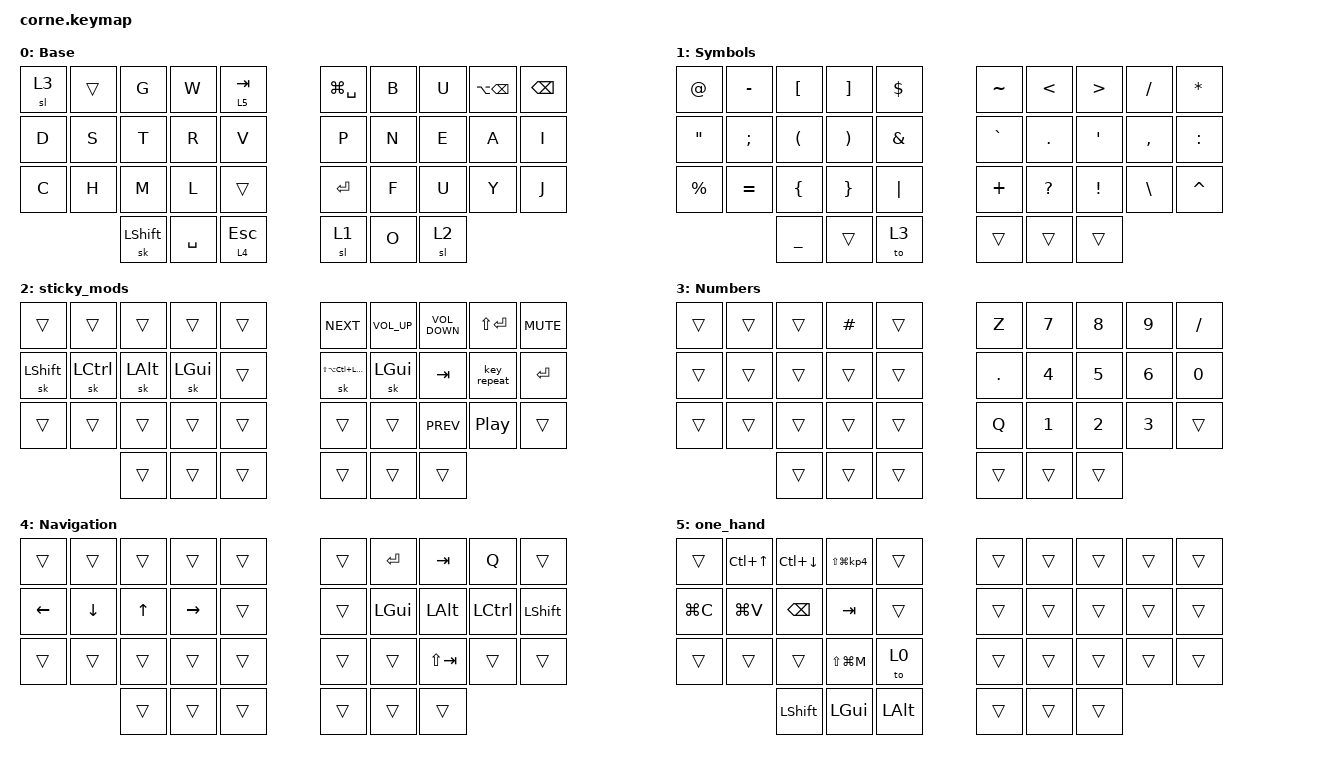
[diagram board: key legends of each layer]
/*
 * Copyright (c) 2020 The ZMK Contributors
 *
 * SPDX-License-Identifier: MIT
 */

#include <behaviors.dtsi>
#include <dt-bindings/zmk/keys.h>

#define DEFAULT_L 0

&lt { quick-tap-ms = <200>; };

&sl {
};

&sk {
    quick-release;
    release-after-ms = <400>;
};

/ {
    chosen { zmk,matrix_transform = &five_column_transform; };

    behaviors {
        tap_repeat_hold_layer: tap_repeat_hold_layer {
            compatible = "zmk,behavior-hold-tap";
            label = "TAP_REPEAT_HOLD_LAYER";
            bindings = <&sl>, <&key_repeat>;

            #binding-cells = <2>;
            tapping-term-ms = <200>;
        };

        tkp_htl: tkp_htl {
            compatible = "zmk,behavior-hold-tap";
            label = "TKP_HTL";
            bindings = <&tog>, <&kp>;

            #binding-cells = <2>;
            tapping-term-ms = <200>;
        };

        bsl: bsl {
            compatible = "zmk,behavior-sticky-key";
            label = "BSL";
            bindings = <&mo>;
            #binding-cells = <1>;
            release-after-ms = <1000>;
            quick-release;
        };
    };

    combos {
        compatible = "zmk,combos";

        equals,num_layer {
            bindings = <&kp KP_EQUAL>;
            key-positions = <16 17>;
            layers = <3>;
        };

        multiply_num_layer {
            bindings = <&kp KP_MULTIPLY>;
            key-positions = <18 19>;
            layers = <3>;
        };

        esc {
            bindings = <&kp LC(PERCENT)>;
            key-positions = <11 10>;
            require-prior-idle-ms = <100>;
            timeout-ms = <20>;
        };
    };

    keymap {
        compatible = "zmk,keymap";

        Base {
            bindings = <
  &sl 3  &trans  &kp G           &kp W      &tkp_htl 5 TAB    &kp LG(SPACE)  &kp B  &kp U  &kp LA(BSPC)  &kp BSPC
  &kp D  &kp S   &kp T           &kp R      &kp V             &kp P          &kp N  &kp E  &kp A         &kp I
  &kp C  &kp H   &kp M           &kp L      &trans            &kp ENTER      &kp F  &kp U  &kp Y         &kp J
                 &sk LEFT_SHIFT  &kp SPACE  &lt 4 ESCAPE      &sl 1          &kp O  &sl 2
            >;
        };

        Symbols {
            bindings = <
  &kp AT_SIGN        &kp MINUS  &kp LEFT_BRACKET      &kp RIGHT_BRACKET      &kp DOLLAR       &kp TILDE  &kp LESS_THAN  &kp GREATER_THAN  &kp FSLH   &kp ASTERISK
  &kp DOUBLE_QUOTES  &kp SEMI   &kp LEFT_PARENTHESIS  &kp RIGHT_PARENTHESIS  &kp AMPERSAND    &kp GRAVE  &kp DOT        &kp SINGLE_QUOTE  &kp COMMA  &kp COLON
  &kp PERCENT        &kp EQUAL  &kp LEFT_BRACE        &kp RIGHT_BRACE        &kp PIPE         &kp PLUS   &kp QUESTION   &kp EXCLAMATION   &kp BSLH   &kp CARET
                                &kp UNDERSCORE        &trans                 &to 3            &trans     &trans         &trans
            >;
        };

        sticky_mods {
            bindings = <
  &trans          &trans     &trans        &trans        &trans    &kp C_NEXT                &kp C_VOLUME_UP  &kp C_VOLUME_DOWN  &kp LS(ENTER)     &kp K_MUTE
  &sk LEFT_SHIFT  &sk LCTRL  &sk LEFT_ALT  &sk LEFT_GUI  &trans    &sk LS(LA(LC(LEFT_GUI)))  &sk LEFT_GUI     &kp TAB            &key_repeat       &kp ENTER
  &trans          &trans     &trans        &trans        &trans    &trans                    &trans           &kp C_PREV         &kp C_PLAY_PAUSE  &trans
                             &trans        &trans        &trans    &trans                    &trans           &trans
            >;
        };

        Numbers {
            bindings = <
  &trans  &trans  &trans  &kp HASH  &trans    &kp Z    &kp N7  &kp N8  &kp N9  &kp FSLH
  &trans  &trans  &trans  &trans    &trans    &kp DOT  &kp N4  &kp N5  &kp N6  &kp N0
  &trans  &trans  &trans  &trans    &trans    &kp Q    &kp N1  &kp N2  &kp N3  &trans
                  &trans  &trans    &trans    &trans   &trans  &trans
            >;
        };

        Navigation {
            bindings = <
  &trans          &trans    &trans        &trans     &trans    &trans  &kp RET       &kp TAB       &kp Q      &trans
  &kp LEFT_ARROW  &kp DOWN  &kp UP_ARROW  &kp RIGHT  &trans    &trans  &kp LEFT_GUI  &kp LEFT_ALT  &kp LCTRL  &kp LEFT_SHIFT
  &trans          &trans    &trans        &trans     &trans    &trans  &trans        &kp LS(TAB)   &trans     &trans
                            &trans        &trans     &trans    &trans  &trans        &trans
            >;
        };

        one_hand {
            bindings = <
  &trans     &kp LC(UP)  &kp LC(DOWN)    &kp LS(LG(KP_NUMBER_4))  &trans          &trans  &trans  &trans  &trans  &trans
  &kp LG(C)  &kp LG(V)   &kp BSPC        &kp TAB                  &trans          &trans  &trans  &trans  &trans  &trans
  &trans     &trans      &trans          &kp LS(LG(M))            &to 0           &trans  &trans  &trans  &trans  &trans
                         &kp LEFT_SHIFT  &kp LGUI                 &kp LEFT_ALT    &trans  &trans  &trans
            >;
        };
    };
};
